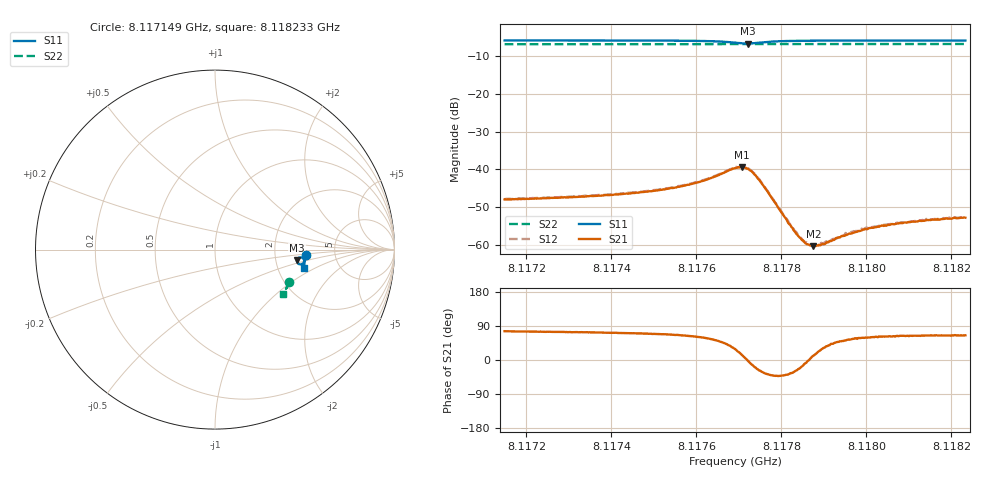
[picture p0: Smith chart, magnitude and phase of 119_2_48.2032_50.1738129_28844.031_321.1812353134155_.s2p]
#  HZ  S  RI  R  50.00
! Rohde & Schwarz Vector Network Analyzer
! Rohde-Schwarz,ZNB20-2Port,1311601062101988,3.16
! Created: UTC 3/20/2024, 11:41:19 AM
! freq[Hz]  re:S11  im:S11  re:S21  im:S21  re:S12  im:S12  re:S22  im:S22
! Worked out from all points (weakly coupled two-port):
!   401 points, 8.117149 GHz to 8.118233 GHz, reference 50 ohm
!   highest |S21| = -39.37 dB at 8.117707 GHz (marker M1); lowest = -60.3 dB at 8.117875 GHz (marker M2)
!   lowest |S11| = -6.7 dB at 8.117721 GHz (marker M3), VSWR 2.71, Z = 132 - j19.6 ohm
!   |S11| at or under -10 dB: nowhere
!   |S22| runs from -6.9 to -6.9 dB; largest |S21 - S12| = 0.00039
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8.1171487e9  0.5051 -0.0286  0.000967 0.00389  0.00104 0.00389  0.414 -0.1792
8.1173303e9  0.5035 -0.0438  0.00124 0.00418  0.00131 0.00421  0.4091 -0.191
8.1174197e9  0.5021 -0.0518  0.00149 0.00444  0.00156 0.00447  0.4066 -0.1969
8.1175119e9  0.4999 -0.0611  0.00194 0.00493  0.00204 0.00504  0.404 -0.2029
8.117604e9  0.4936 -0.0733  0.00328 0.00588  0.00342 0.00595  0.4011 -0.2089
8.1176907e9  0.4658 -0.0794  0.00905 0.00503  0.00927 0.00493  0.3971 -0.2141
8.117707e9  0.4579 -0.0701  0.0105 0.00248  0.0107 0.00234  0.3964 -0.2146
8.1177205e9  0.4569 -0.0585  0.0103 -0.000255  0.0104 -0.000337  0.3964 -0.2148
8.1177341e9  0.4627 -0.0485  0.00856 -0.00243  0.00866 -0.00248  0.3962 -0.2151
8.117753e9  0.4751 -0.0434  0.00565 -0.00335  0.00575 -0.00347  0.3963 -0.2162
8.117837e9  0.4967 -0.0591  0.00122 -0.00061  0.00127 -0.000625  0.3946 -0.2221
8.1178452e9  0.497 -0.0606  0.00115 -0.000413  0.00117 -0.000445  0.3944 -0.2228
8.117856e9  0.4976 -0.0623  0.00104 -0.000165  0.00109 -0.000197  0.394 -0.2234
8.1178723e9  0.498 -0.065  0.000968 0.000155  0.000958 0.000118  0.3935 -0.2244
8.117875e9  0.4982 -0.0654  0.000944 0.000186  0.00097 0.000204  0.3934 -0.2246
8.1178967e9  0.4984 -0.0682  0.000895 0.000515  0.000893 0.000511  0.3927 -0.226
8.1179346e9  0.4985 -0.073  0.000845 0.000934  0.000853 0.000925  0.3915 -0.2287
8.1179644e9  0.4984 -0.0763  0.00082 0.00115  0.000853 0.00122  0.3905 -0.2305
8.1180023e9  0.4982 -0.0802  0.000833 0.00139  0.000866 0.00144  0.3892 -0.2328
8.1180538e9  0.4976 -0.085  0.000844 0.00163  0.000863 0.00167  0.3874 -0.236
8.1181487e9  0.4962 -0.0932  0.000916 0.00193  0.00094 0.00194  0.3842 -0.242
8.1182327e9  0.4949 -0.1  0.000961 0.00208  0.000997 0.00214  0.3811 -0.2471
